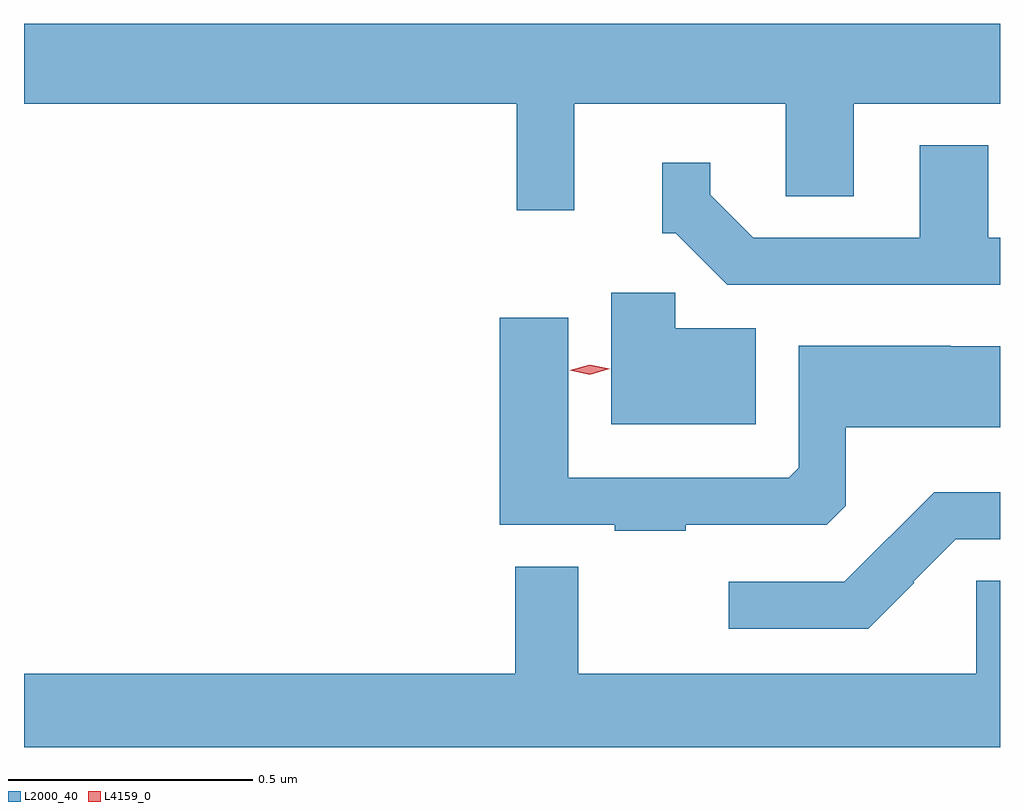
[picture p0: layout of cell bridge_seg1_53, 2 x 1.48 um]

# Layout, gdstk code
import gdstk
lib = gdstk.Library(unit=1e-6, precision=1e-09)
def P(c, l, *ps):  # polygons
    for p in ps: c.add(gdstk.Polygon(p, *l))
L2000_40 = (2000, 40)
L4159_0 = (4159, 0)

bridge_seg1_53 = lib.new_cell('bridge_seg1_53')
P(bridge_seg1_53, L2000_40, [(431.213,526.424),(432.223,526.424),(432.223,526.206),(432.341,526.206),(432.341,526.424),(432.774,526.424),(432.774,526.234),(432.913,526.234),(432.913,526.424),(433.213,526.424),(433.213,526.588),(431.213,526.588)],
  [(433.213,526.149),(433.189,526.149),(433.189,526.339),(433.049,526.339),(433.049,526.149),(432.707,526.149),(432.619,526.237),(432.619,526.303),(432.521,526.303),(432.521,526.158),(432.549,526.158),(432.654,526.053),(433.213,526.053)],
  [(432.712,525.964),(432.548,525.964),(432.548,526.037),(432.416,526.037),(432.416,525.767),(432.712,525.767)],
  [(432.569,525.561),(432.858,525.561),(432.897,525.6),(432.897,525.761),(433.213,525.761),(433.213,525.927),(433.112,525.927),(433.112,525.928),(432.801,525.928),(432.801,525.678),(432.78,525.657),(432.328,525.657),(432.328,525.985),(432.188,525.985),(432.188,525.561),(432.424,525.561),(432.424,525.549),(432.569,525.549)],
  [(433.037,525.442),(433.035,525.444),(433.122,525.531),(433.213,525.531),(433.213,525.628),(433.078,525.628),(432.894,525.444),(432.657,525.444),(432.657,525.348),(432.943,525.348)],
  [(433.213,525.446),(433.164,525.446),(433.164,525.256),(432.349,525.256),(432.349,525.475),(432.22,525.475),(432.22,525.256),(431.213,525.256),(431.213,525.105),(433.213,525.105)])
P(bridge_seg1_53, L4159_0, [(432.372,525.869),(432.331,525.878),(432.331,525.878),(432.331,525.878),(432.372,525.889),(432.413,525.881),(432.413,525.881),(432.413,525.881)])

lib.write_gds('bridge_seg1_53.gds')
